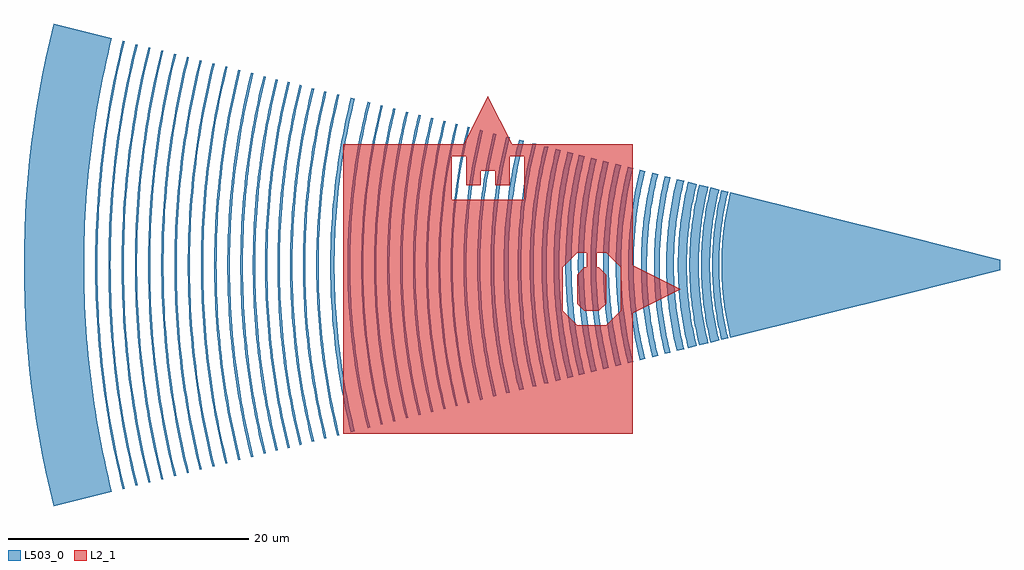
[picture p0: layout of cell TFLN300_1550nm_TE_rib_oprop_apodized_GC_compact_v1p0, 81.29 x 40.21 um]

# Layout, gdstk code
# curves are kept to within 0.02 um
import gdstk
lib = gdstk.Library(unit=1e-6, precision=1e-09)
def P(c, l, *ps):  # polygons
    for p in ps: c.add(gdstk.Polygon(p, *l))
L2_1 = (2, 1)
L503_0 = (503, 0)

tfln300_1550nm_te_rib_op = lib.new_cell('TFLN300_1550nm_TE_rib_oprop_apodized_GC_compact_v1p0')
P(tfln300_1550nm_te_rib_op, L2_1, [(-54.719,-14.072),(-54.719,1.006),(-33.585,1.006),(-33.585,-0.2),(-33.404,-0.2),(-32.801,-0.803),(-32.801,-3.216),(-33.404,-3.819),(-34.611,-3.819),(-35.214,-3.216),(-35.214,-0.803),(-34.611,-0.2),(-34.43,-0.2),(-34.43,1.006),(-35.214,1.006),(-36.42,-0.2),(-36.42,-3.819),(-35.214,-5.025),(-32.801,-5.025),(-31.595,-3.819),(-31.595,-0.2),(-32.801,1.006),(-54.719,1.006),(-54.719,9.052),(-40.848,9.052),(-40.848,6.639),(-42.054,6.639),(-42.054,7.845),(-43.261,7.845),(-43.261,6.639),(-44.467,6.639),(-44.467,9.052),(-45.673,9.052),(-45.673,5.433),(-39.642,5.433),(-39.642,9.052),(-54.719,9.052),(-54.719,10.052),(-44.667,10.052),(-42.657,14.072),(-40.647,10.052),(-30.595,10.052),(-30.595,0),(-26.575,-2.01),(-30.595,-4.02),(-30.595,-14.072)])
P(tfln300_1550nm_te_rib_op, L503_0, [(-22.452,-6.048),(-22.776,-4.556),(-23.009,-3.047),(-23.148,-1.526),(-23.195,0),(-23.148,1.526),(-23.009,3.047),(-22.776,4.556),(-22.452,6.048),(0,0.45),(0,-0.45)],
  [(-23.2,-6.234),(-23.533,-4.696),(-23.773,-3.141),(-23.917,-1.573),(-23.965,0),(-23.917,1.573),(-23.773,3.141),(-23.533,4.696),(-23.2,6.234),(-22.639,6.094),(-22.966,4.591),(-23.201,3.07),(-23.341,1.538),(-23.388,0),(-23.341,-1.538),(-23.201,-3.07),(-22.966,-4.591),(-22.639,-6.094)],
  [(-24.103,-6.459),(-24.449,-4.866),(-24.697,-3.254),(-24.846,-1.63),(-24.896,0),(-24.846,1.63),(-24.697,3.254),(-24.449,4.866),(-24.103,6.459),(-23.388,6.281),(-23.683,4.954),(-23.966,3.164),(-24.111,1.585),(-24.159,0),(-24.111,-1.585),(-23.966,-3.164),(-23.683,-4.954),(-23.388,-6.281)],
  [(-25.047,-6.695),(-25.406,-5.043),(-25.663,-3.373),(-25.817,-1.689),(-25.869,0),(-25.817,1.689),(-25.663,3.373),(-25.406,5.043),(-25.047,6.695),(-24.29,6.506),(-24.639,4.901),(-24.889,3.277),(-25.039,1.642),(-25.089,0),(-25.039,-1.642),(-24.889,-3.277),(-24.639,-4.901),(-24.29,-6.506)],
  [(-25.979,-6.927),(-26.351,-5.218),(-26.617,-3.49),(-26.777,-1.748),(-26.83,0),(-26.777,1.748),(-26.617,3.49),(-26.351,5.218),(-25.979,6.927),(-25.254,6.746),(-25.615,5.082),(-25.874,3.399),(-26.03,1.702),(-26.082,0),(-26.03,-1.702),(-25.874,-3.399),(-25.615,-5.082),(-25.254,-6.746)],
  [(-26.922,-7.162),(-27.305,-5.395),(-27.58,-3.608),(-27.746,-1.807),(-27.801,0),(-27.746,1.807),(-27.58,3.608),(-27.305,5.395),(-26.922,7.162),(-26.309,7.009),(-26.685,5.28),(-26.954,3.532),(-27.116,1.769),(-27.17,0),(-27.116,-1.769),(-26.954,-3.532),(-26.685,-5.28),(-26.309,-7.009)],
  [(-27.909,-7.408),(-28.306,-5.581),(-28.591,-3.732),(-28.762,-1.87),(-28.819,0),(-28.762,1.87),(-28.591,3.732),(-28.306,5.581),(-27.909,7.408),(-27.454,7.295),(-27.795,5.753),(-28.056,4.196),(-28.234,2.628),(-28.331,1.052),(-28.331,-1.052),(-28.184,-3.152),(-27.891,-5.236),(-27.454,-7.294)],
  [(-28.958,-7.67),(-29.369,-5.778),(-29.664,-3.864),(-29.841,-1.936),(-29.9,0),(-29.841,1.936),(-29.664,3.864),(-29.369,5.778),(-28.958,7.67),(-28.484,7.552),(-28.889,5.69),(-29.145,4.075),(-29.316,2.45),(-29.402,0.818),(-29.393,-1.09),(-29.241,-3.263),(-28.938,-5.421),(-28.484,-7.552)],
  [(-29.994,-7.928),(-30.418,-5.972),(-30.723,-3.994),(-30.906,-2.001),(-30.967,0),(-30.906,2.001),(-30.723,3.994),(-30.418,5.972),(-29.994,7.928),(-29.56,7.82),(-29.979,5.891),(-30.279,3.939),(-30.46,1.974),(-30.52,0),(-30.46,-1.974),(-30.279,-3.939),(-29.979,-5.891),(-29.56,-7.82)],
  [(-30.996,-8.178),(-31.434,-6.16),(-31.748,-4.12),(-31.937,-2.064),(-32,0),(-31.937,2.064),(-31.748,4.12),(-31.434,6.16),(-30.996,8.178),(-30.566,8.071),(-30.998,6.079),(-31.309,4.065),(-31.495,2.037),(-31.557,0),(-31.495,-2.037),(-31.309,-4.065),(-30.998,-6.079),(-30.566,-8.071)],
  [(-32.023,-8.434),(-32.475,-6.353),(-32.799,-4.249),(-32.994,-2.128),(-33.059,0),(-32.994,2.128),(-32.799,4.249),(-32.475,6.353),(-32.023,8.434),(-31.56,8.319),(-32.005,6.265),(-32.325,4.191),(-32.517,2.099),(-32.581,0),(-32.517,-2.099),(-32.325,-4.191),(-32.005,-6.265),(-31.56,-8.319)],
  [(-33.037,-8.687),(-33.503,-6.544),(-33.836,-4.376),(-34.037,-2.192),(-34.104,0),(-34.037,2.192),(-33.836,4.376),(-33.503,6.544),(-33.037,8.687),(-32.58,8.573),(-33.039,6.458),(-33.369,4.319),(-33.567,2.163),(-33.633,0),(-33.567,-2.163),(-33.369,-4.319),(-33.039,-6.458),(-32.58,-8.573)],
  [(-34.053,-8.94),(-34.532,-6.735),(-34.876,-4.504),(-35.082,-2.256),(-35.151,0),(-35.082,2.256),(-34.876,4.504),(-34.532,6.735),(-34.053,8.94),(-33.586,8.824),(-34.06,6.647),(-34.398,4.445),(-34.602,2.226),(-34.67,0),(-34.602,-2.226),(-34.398,-4.445),(-34.06,-6.647),(-33.586,-8.824)],
  [(-35.069,-9.193),(-35.562,-6.925),(-35.915,-4.631),(-36.127,-2.32),(-36.198,0),(-36.127,2.32),(-35.915,4.631),(-35.562,6.925),(-35.069,9.193),(-34.582,9.072),(-35.068,6.835),(-35.417,4.57),(-35.626,2.289),(-35.696,0),(-35.626,-2.289),(-35.417,-4.57),(-35.068,-6.835),(-34.582,-9.072)],
  [(-36.026,-9.432),(-36.531,-7.105),(-36.893,-4.752),(-37.111,-2.38),(-37.184,0),(-37.111,2.38),(-36.893,4.752),(-36.531,7.105),(-36.026,9.432),(-35.562,9.316),(-36.061,7.018),(-36.419,4.693),(-36.634,2.351),(-36.706,0),(-36.634,-2.351),(-36.419,-4.693),(-36.061,-7.018),(-35.562,-9.316)],
  [(-36.99,-9.672),(-37.508,-7.286),(-37.88,-4.873),(-38.103,-2.441),(-38.178,0),(-38.103,2.441),(-37.88,4.873),(-37.508,7.286),(-36.99,9.672),(-36.593,9.573),(-37.105,7.211),(-37.473,4.823),(-37.694,2.416),(-37.768,0),(-37.694,-2.416),(-37.473,-4.823),(-37.105,-7.211),(-36.593,-9.573)],
  [(-37.949,-9.911),(-38.48,-7.466),(-38.861,-4.993),(-39.09,-2.501),(-39.166,0),(-39.09,2.501),(-38.861,4.993),(-38.48,7.466),(-37.949,9.911),(-37.643,9.835),(-38.17,7.409),(-38.548,4.955),(-38.775,2.482),(-38.851,0),(-38.775,-2.482),(-38.548,-4.955),(-38.17,-7.409),(-37.643,-9.835)],
  [(-38.924,-10.155),(-39.468,-7.65),(-39.858,-5.116),(-40.093,-2.563),(-40.171,0),(-40.093,2.563),(-39.858,5.116),(-39.468,7.65),(-38.924,10.155),(-38.641,10.084),(-39.181,7.597),(-39.569,5.081),(-39.802,2.545),(-39.879,0),(-39.802,-2.545),(-39.569,-5.081),(-39.181,-7.597),(-38.641,-10.084)],
  [(-40.055,-10.437),(-40.615,-7.862),(-41.015,-5.258),(-41.257,-2.634),(-41.337,0),(-41.257,2.634),(-41.015,5.258),(-40.615,7.862),(-40.055,10.437),(-39.668,10.34),(-39.925,9.251),(-40.222,7.789),(-40.469,6.317),(-40.619,5.209),(-40.742,4.096),(-40.859,2.609),(-40.938,0),(-40.859,-2.609),(-40.742,-4.096),(-40.619,-5.209),(-40.469,-6.317),(-40.222,-7.789),(-39.925,-9.251),(-39.668,-10.34)],
  [(-41.121,-10.702),(-41.468,-9.198),(-41.694,-8.062),(-41.949,-6.539),(-42.105,-5.391),(-42.267,-3.856),(-42.352,-2.701),(-42.42,-1.158),(-42.435,0),(-42.42,1.158),(-42.352,2.701),(-42.267,3.856),(-42.105,5.391),(-41.949,6.539),(-41.694,8.062),(-41.468,9.198),(-41.121,10.702),(-40.826,10.629),(-41.172,9.136),(-41.397,8.008),(-41.804,5.355),(-42.051,2.683),(-42.106,1.533),(-42.132,0),(-42.106,-1.533),(-42.051,-2.683),(-41.804,-5.355),(-41.397,-8.008),(-41.172,-9.136),(-40.826,-10.629)],
  [(-42.191,-10.969),(-42.463,-9.814),(-42.779,-8.263),(-42.98,-7.093),(-43.2,-5.526),(-43.329,-4.346),(-43.453,-2.768),(-43.51,-1.582),(-43.538,0),(-43.51,1.582),(-43.453,2.768),(-43.329,4.346),(-43.2,5.526),(-42.98,7.093),(-42.779,8.263),(-42.463,9.814),(-42.191,10.969),(-41.949,10.909),(-42.533,8.218),(-42.793,6.665),(-42.952,5.495),(-43.117,3.931),(-43.203,2.753),(-43.273,1.18),(-43.288,0),(-43.273,-1.18),(-43.203,-2.753),(-43.117,-3.931),(-42.952,-5.495),(-42.793,-6.665),(-42.533,-8.218),(-41.949,-10.909)],
  [(-43.304,-11.247),(-43.583,-10.062),(-43.907,-8.472),(-44.113,-7.273),(-44.338,-5.666),(-44.471,-4.456),(-44.598,-2.838),(-44.657,-1.622),(-44.685,0),(-44.657,1.622),(-44.598,2.838),(-44.471,4.456),(-44.338,5.666),(-44.113,7.273),(-43.907,8.472),(-43.583,10.062),(-43.304,11.247),(-43.071,11.188),(-43.349,10.01),(-43.671,8.428),(-43.876,7.235),(-44.1,5.637),(-44.269,4.031),(-44.358,2.823),(-44.429,1.211),(-44.445,0),(-44.429,-1.211),(-44.358,-2.823),(-44.269,-4.031),(-44.1,-5.637),(-43.876,-7.235),(-43.671,-8.428),(-43.349,-10.01),(-43.071,-11.188)],
  [(-44.333,-11.503),(-44.618,-10.292),(-44.949,-8.665),(-45.16,-7.438),(-45.391,-5.795),(-45.564,-4.144),(-45.656,-2.903),(-45.729,-1.245),(-45.745,0),(-45.729,1.245),(-45.656,2.903),(-45.564,4.144),(-45.391,5.795),(-45.16,7.438),(-44.949,8.665),(-44.618,10.292),(-44.333,11.503),(-44.179,11.465),(-44.551,9.854),(-44.867,8.229),(-45.126,6.596),(-45.327,4.954),(-45.441,3.719),(-45.522,2.481),(-45.571,1.24),(-45.587,0),(-45.571,-1.24),(-45.522,-2.481),(-45.441,-3.719),(-45.327,-4.954),(-45.126,-6.596),(-44.867,-8.229),(-44.551,-9.854),(-44.179,-11.465)],
  [(-45.333,-11.752),(-45.714,-10.101),(-45.963,-8.853),(-46.178,-7.6),(-46.414,-5.921),(-46.591,-4.234),(-46.685,-2.966),(-46.759,-1.272),(-46.776,0),(-46.759,1.272),(-46.685,2.966),(-46.591,4.234),(-46.414,5.921),(-46.178,7.6),(-45.963,8.853),(-45.714,10.101),(-45.333,11.752),(-45.179,11.714),(-45.559,10.067),(-45.882,8.408),(-46.146,6.739),(-46.352,5.061),(-46.551,2.535),(-46.601,1.268),(-46.617,0),(-46.601,-1.268),(-46.551,-2.535),(-46.352,-5.061),(-46.146,-6.739),(-45.882,-8.408),(-45.559,-10.067),(-45.179,-11.714)],
  [(-46.338,-12.003),(-46.728,-10.316),(-46.981,-9.042),(-47.267,-7.334),(-47.442,-6.047),(-47.584,-4.756),(-47.719,-3.029),(-47.782,-1.732),(-47.812,0),(-47.782,1.732),(-47.719,3.029),(-47.584,4.756),(-47.442,6.047),(-47.267,7.334),(-46.981,9.042),(-46.728,10.316),(-46.338,12.003),(-46.174,11.962),(-46.562,10.282),(-46.892,8.586),(-47.162,6.882),(-47.372,5.168),(-47.575,2.589),(-47.626,1.296),(-47.643,0),(-47.626,-1.296),(-47.575,-2.589),(-47.372,-5.168),(-47.162,-6.882),(-46.892,-8.586),(-46.562,-10.282),(-46.174,-11.962)],
  [(-47.381,-12.263),(-47.685,-10.972),(-48.038,-9.238),(-48.263,-7.93),(-48.509,-6.178),(-48.654,-4.859),(-48.792,-3.095),(-48.87,-1.327),(-48.887,0),(-48.87,1.327),(-48.792,3.095),(-48.654,4.859),(-48.509,6.178),(-48.263,7.93),(-48.038,9.238),(-47.685,10.972),(-47.381,12.263),(-47.196,12.216),(-47.593,10.5),(-47.928,8.77),(-48.204,7.028),(-48.419,5.279),(-48.627,2.644),(-48.696,0),(-48.627,-2.644),(-48.419,-5.279),(-48.204,-7.028),(-47.928,-8.77),(-47.593,-10.5),(-47.196,-12.216)],
  [(-48.421,-12.522),(-48.732,-11.204),(-49.092,-9.433),(-49.322,-8.098),(-49.573,-6.308),(-49.721,-4.961),(-49.862,-3.16),(-49.941,-1.355),(-49.959,0),(-49.941,1.355),(-49.862,3.16),(-49.721,4.961),(-49.573,6.308),(-49.322,8.098),(-49.092,9.433),(-48.732,11.204),(-48.421,12.522),(-48.232,12.475),(-48.637,10.721),(-48.981,8.956),(-49.262,7.177),(-49.481,5.391),(-49.694,2.7),(-49.764,0),(-49.694,-2.7),(-49.481,-5.391),(-49.262,-7.177),(-48.981,-8.956),(-48.637,-10.721),(-48.232,-12.475)],
  [(-49.47,-12.784),(-49.885,-10.987),(-50.155,-9.63),(-50.46,-7.811),(-50.646,-6.44),(-50.797,-5.065),(-50.941,-3.226),(-51.008,-1.844),(-51.04,0),(-51.008,1.844),(-50.941,3.226),(-50.797,5.065),(-50.646,6.44),(-50.46,7.811),(-50.155,9.63),(-49.885,10.987),(-49.47,12.784),(-49.289,12.739),(-49.703,10.948),(-50.054,9.145),(-50.341,7.329),(-50.565,5.505),(-50.782,2.757),(-50.854,0),(-50.782,-2.757),(-50.565,-5.505),(-50.341,-7.329),(-50.054,-9.145),(-49.703,-10.948),(-49.289,-12.739)],
  [(-50.528,-13.048),(-50.852,-11.674),(-51.227,-9.829),(-51.538,-7.972),(-51.728,-6.573),(-51.925,-4.701),(-52.029,-3.293),(-52.112,-1.412),(-52.13,0),(-52.112,1.412),(-52.029,3.293),(-51.925,4.701),(-51.728,6.573),(-51.538,7.972),(-51.227,9.829),(-50.852,11.674),(-50.528,13.048),(-50.357,13.005),(-50.779,11.177),(-51.137,9.335),(-51.431,7.482),(-51.66,5.62),(-51.881,2.815),(-51.936,1.407),(-51.954,0),(-51.936,-1.407),(-51.881,-2.815),(-51.66,-5.62),(-51.431,-7.482),(-51.137,-9.335),(-50.779,-11.177),(-50.357,-13.005)],
  [(-51.56,-13.305),(-51.992,-11.435),(-52.273,-10.023),(-52.517,-8.604),(-52.784,-6.703),(-52.985,-4.793),(-53.091,-3.358),(-53.175,-1.44),(-53.194,0),(-53.175,1.44),(-53.091,3.358),(-52.985,4.793),(-52.784,6.703),(-52.517,8.604),(-52.273,10.023),(-51.992,11.435),(-51.56,13.305),(-51.407,13.267),(-51.837,11.402),(-52.203,9.523),(-52.502,7.632),(-52.736,5.733),(-52.867,4.303),(-52.961,2.871),(-53.018,1.436),(-53.036,0),(-53.018,-1.436),(-52.961,-2.871),(-52.867,-4.303),(-52.736,-5.733),(-52.502,-7.632),(-52.203,-9.523),(-51.837,-11.402),(-51.407,-13.267)],
  [(-52.678,-13.584),(-53.015,-12.153),(-53.406,-10.233),(-53.655,-8.784),(-53.927,-6.843),(-54.132,-4.894),(-54.241,-3.428),(-54.312,-1.96),(-54.346,0),(-54.312,1.96),(-54.241,3.428),(-54.132,4.894),(-53.927,6.843),(-53.655,8.784),(-53.406,10.233),(-53.015,12.153),(-52.678,13.584),(-52.461,13.529),(-52.901,11.629),(-53.273,9.712),(-53.579,7.783),(-53.817,5.847),(-54.047,2.927),(-54.123,0),(-54.047,-2.927),(-53.817,-5.847),(-53.579,-7.783),(-53.273,-9.712),(-52.901,-11.629),(-52.461,-13.529)],
  [(-54.069,-13.931),(-54.521,-11.972),(-54.815,-10.494),(-55.07,-9.008),(-55.35,-7.018),(-55.56,-5.019),(-55.672,-3.515),(-55.744,-2.01),(-55.779,0),(-55.744,2.01),(-55.672,3.515),(-55.56,5.019),(-55.35,7.018),(-55.07,9.008),(-54.815,10.494),(-54.521,11.972),(-54.069,13.931),(-53.735,13.847),(-54.079,12.389),(-54.478,10.432),(-54.732,8.954),(-55.009,6.975),(-55.218,4.99),(-55.329,3.495),(-55.417,1.498),(-55.436,0),(-55.417,-1.498),(-55.329,-3.495),(-55.218,-4.99),(-55.009,-6.975),(-54.732,-8.954),(-54.478,-10.432),(-54.079,-12.389),(-53.735,-13.847)],
  [(-55.2,-14.213),(-55.661,-12.215),(-55.961,-10.706),(-56.222,-9.191),(-56.507,-7.16),(-56.675,-5.631),(-56.835,-3.587),(-56.925,-1.538),(-56.945,0),(-56.925,1.538),(-56.835,3.587),(-56.675,5.631),(-56.507,7.16),(-56.222,9.191),(-55.961,10.706),(-55.661,12.215),(-55.2,14.213),(-55.021,14.168),(-55.481,12.176),(-55.87,10.169),(-56.19,8.151),(-56.44,6.121),(-56.579,4.595),(-56.68,3.065),(-56.74,1.532),(-56.76,0),(-56.74,-1.532),(-56.68,-3.065),(-56.579,-4.595),(-56.44,-6.121),(-56.19,-8.151),(-55.87,-10.169),(-55.481,-12.176),(-55.021,-14.168)],
  [(-56.266,-14.478),(-56.625,-12.954),(-57.042,-10.907),(-57.387,-8.846),(-57.598,-7.294),(-57.816,-5.216),(-57.932,-3.654),(-58.008,-2.089),(-58.044,0),(-58.008,2.089),(-57.932,3.654),(-57.816,5.216),(-57.598,7.294),(-57.387,8.846),(-57.042,10.907),(-56.625,12.954),(-56.266,14.478),(-56.098,14.436),(-56.566,12.408),(-56.871,10.874),(-57.215,8.82),(-57.486,6.756),(-57.643,5.2),(-57.788,3.124),(-57.85,1.562),(-57.87,0),(-57.85,-1.562),(-57.788,-3.124),(-57.643,-5.2),(-57.486,-6.756),(-57.215,-8.82),(-56.871,-10.874),(-56.566,-12.408),(-56.098,-14.436)],
  [(-57.31,-14.739),(-57.789,-12.667),(-58.1,-11.103),(-58.451,-9.005),(-58.666,-7.425),(-58.84,-5.839),(-59.006,-3.719),(-59.083,-2.126),(-59.12,0),(-59.083,2.126),(-59.006,3.719),(-58.84,5.839),(-58.666,7.425),(-58.451,9.005),(-58.1,11.103),(-57.789,12.667),(-57.31,14.739),(-57.135,14.695),(-57.499,13.148),(-57.922,11.071),(-58.272,8.979),(-58.548,6.876),(-58.708,5.295),(-58.856,3.179),(-58.918,1.59),(-58.939,0),(-58.918,-1.59),(-58.856,-3.179),(-58.708,-5.295),(-58.548,-6.876),(-58.272,-8.979),(-57.922,-11.071),(-57.499,-13.148),(-57.135,-14.695)],
  [(-58.334,-14.994),(-58.821,-12.886),(-59.137,-11.295),(-59.412,-9.696),(-59.713,-7.553),(-59.89,-5.941),(-60.059,-3.784),(-60.154,-1.622),(-60.175,0),(-60.154,1.622),(-60.059,3.784),(-59.89,5.941),(-59.713,7.553),(-59.412,9.696),(-59.137,11.295),(-58.821,12.886),(-58.334,14.994),(-58.158,14.95),(-58.644,12.849),(-59.055,10.731),(-59.315,9.134),(-59.596,6.996),(-59.759,5.386),(-59.91,3.235),(-59.973,1.618),(-59.994,0),(-59.973,-1.618),(-59.91,-3.235),(-59.759,-5.386),(-59.596,-6.996),(-59.315,-9.134),(-59.055,-10.731),(-58.644,-12.849),(-58.158,-14.95)],
  [(-59.332,-15.243),(-59.827,-13.1),(-60.149,-11.482),(-60.512,-9.313),(-60.734,-7.679),(-60.914,-6.039),(-61.086,-3.847),(-61.166,-2.199),(-61.204,0),(-61.166,2.199),(-61.086,3.847),(-60.914,6.039),(-60.734,7.679),(-60.512,9.313),(-60.149,11.482),(-59.827,13.1),(-59.332,15.243),(-59.165,15.2),(-59.542,13.601),(-59.979,11.451),(-60.341,9.288),(-60.628,7.113),(-60.792,5.476),(-60.945,3.289),(-61.01,1.645),(-61.031,0),(-61.01,-1.645),(-60.945,-3.289),(-60.792,-5.476),(-60.628,-7.113),(-60.341,-9.288),(-59.979,-11.451),(-59.542,-13.601),(-59.165,-15.2)],
  [(-60.324,-15.49),(-60.827,-13.313),(-61.154,-11.669),(-61.438,-10.017),(-61.749,-7.803),(-61.931,-6.137),(-62.107,-3.909),(-62.187,-2.235),(-62.226,0),(-62.187,2.235),(-62.107,3.909),(-61.931,6.137),(-61.749,7.803),(-61.438,10.017),(-61.154,11.669),(-60.827,13.313),(-60.324,15.49),(-60.144,15.445),(-60.646,13.274),(-60.972,11.635),(-61.34,9.437),(-61.631,7.228),(-61.798,5.565),(-61.954,3.342),(-62.019,1.67),(-62.041,0),(-62.019,-1.67),(-61.954,-3.342),(-61.798,-5.565),(-61.631,-7.228),(-61.34,-9.437),(-60.972,-11.635),(-60.646,-13.274),(-60.144,-15.445)],
  [(-61.334,-15.742),(-61.725,-14.084),(-62.177,-11.858),(-62.466,-10.18),(-62.782,-7.93),(-62.967,-6.237),(-63.146,-3.973),(-63.245,-1.703),(-63.267,0),(-63.245,1.703),(-63.146,3.973),(-62.967,6.237),(-62.782,7.93),(-62.466,10.18),(-62.177,11.858),(-61.725,14.084),(-61.334,15.742),(-61.145,15.695),(-61.534,14.042),(-61.986,11.823),(-62.36,9.589),(-62.655,7.344),(-62.825,5.655),(-62.951,3.96),(-63.05,1.698),(-63.072,0),(-63.05,-1.698),(-62.951,-3.96),(-62.825,-5.655),(-62.655,-7.344),(-62.36,-9.589),(-61.986,-11.823),(-61.534,-14.042),(-61.145,-15.695)],
  [(-62.382,-16.003),(-62.779,-14.318),(-63.239,-12.055),(-63.533,-10.348),(-63.854,-8.062),(-64.095,-5.766),(-64.224,-4.038),(-64.307,-2.309),(-64.347,0),(-64.307,2.309),(-64.224,4.038),(-64.095,5.766),(-63.854,8.062),(-63.533,10.348),(-63.239,12.055),(-62.779,14.318),(-62.382,16.003),(-62.191,15.956),(-62.587,14.275),(-63.045,12.019),(-63.425,9.749),(-63.726,7.466),(-63.899,5.748),(-64.06,3.452),(-64.128,1.726),(-64.15,0),(-64.128,-1.726),(-64.06,-3.452),(-63.899,-5.748),(-63.726,-7.466),(-63.425,-9.749),(-63.045,-12.019),(-62.587,-14.275),(-62.191,-15.956)],
  [(-63.441,-16.267),(-63.969,-13.981),(-64.312,-12.254),(-64.61,-10.519),(-64.937,-8.195),(-65.182,-5.861),(-65.313,-4.105),(-65.415,-1.76),(-65.438,0),(-65.415,1.76),(-65.313,4.105),(-65.182,5.861),(-64.937,8.195),(-64.61,10.519),(-64.312,12.254),(-63.969,13.981),(-63.441,16.267),(-63.269,16.224),(-63.795,13.944),(-64.242,11.646),(-64.524,9.913),(-64.83,7.593),(-65.006,5.846),(-65.136,4.093),(-65.238,1.756),(-65.261,0),(-65.238,-1.756),(-65.136,-4.093),(-65.006,-5.846),(-64.83,-7.593),(-64.608,-9.334),(-64.242,-11.646),(-63.795,-13.944),(-63.269,-16.224)],
  [(-64.51,-16.534),(-64.92,-14.793),(-65.396,-12.455),(-65.699,-10.692),(-66.031,-8.329),(-66.28,-5.957),(-66.413,-4.172),(-66.517,-1.789),(-66.54,0),(-66.517,1.789),(-66.413,4.172),(-66.28,5.957),(-66.031,8.329),(-65.699,10.692),(-65.396,12.455),(-64.92,14.793),(-64.51,16.534),(-64.355,16.495),(-64.89,14.177),(-65.344,11.841),(-65.717,9.49),(-65.942,7.719),(-66.17,5.35),(-66.287,3.568),(-66.357,1.785),(-66.38,0),(-66.357,-1.785),(-66.287,-3.568),(-66.17,-5.35),(-65.942,-7.719),(-65.717,-9.49),(-65.344,-11.841),(-64.89,-14.177),(-64.355,-16.495)],
  [(-65.578,-16.8),(-65.995,-15.031),(-66.478,-12.656),(-66.786,-10.864),(-67.123,-8.463),(-67.377,-6.053),(-67.511,-4.24),(-67.599,-2.424),(-67.641,0),(-67.599,2.424),(-67.511,4.24),(-67.377,6.053),(-67.123,8.463),(-66.786,10.864),(-66.478,12.656),(-65.995,15.031),(-65.578,16.8),(-65.423,16.761),(-65.966,14.406),(-66.429,12.031),(-66.807,9.643),(-67.036,7.844),(-67.217,6.039),(-67.352,4.229),(-67.458,1.814),(-67.481,0),(-67.458,-1.814),(-67.352,-4.229),(-67.217,-6.039),(-67.036,-7.844),(-66.807,-9.643),(-66.429,-12.031),(-65.966,-14.406),(-65.423,-16.761)],
  [(-66.647,-17.067),(-67.071,-15.269),(-67.562,-12.856),(-67.968,-10.428),(-68.217,-8.598),(-68.475,-6.149),(-68.611,-4.307),(-68.719,-1.847),(-68.743,0),(-68.719,1.847),(-68.611,4.307),(-68.475,6.149),(-68.217,8.598),(-67.968,10.428),(-67.562,12.856),(-67.071,15.269),(-66.647,17.067),(-66.492,17.028),(-67.044,14.635),(-67.514,12.223),(-67.81,10.404),(-68.131,7.969),(-68.366,5.523),(-68.487,3.685),(-68.559,1.842),(-68.583,0),(-68.559,-1.842),(-68.487,-3.685),(-68.366,-5.523),(-68.131,-7.969),(-67.81,-10.404),(-67.514,-12.223),(-67.044,-14.635),(-66.492,-17.028)],
  [(-67.717,-17.333),(-68.147,-15.508),(-68.645,-13.057),(-68.963,-11.209),(-69.311,-8.732),(-69.515,-6.867),(-69.711,-4.374),(-69.801,-2.501),(-69.845,0),(-69.801,2.501),(-69.711,4.374),(-69.515,6.867),(-69.311,8.732),(-68.963,11.209),(-68.645,13.057),(-68.147,15.508),(-67.717,17.333),(-67.56,17.294),(-68.121,14.864),(-68.598,12.414),(-68.899,10.567),(-69.225,8.093),(-69.464,5.608),(-69.586,3.742),(-69.66,1.871),(-69.684,0),(-69.66,-1.871),(-69.586,-3.742),(-69.464,-5.608),(-69.225,-8.093),(-68.899,-10.567),(-68.598,-12.414),(-68.121,-14.864),(-67.56,-17.294)],
  [(-68.785,-17.6),(-69.222,-15.746),(-69.728,-13.258),(-70.147,-10.753),(-70.404,-8.866),(-70.669,-6.341),(-70.81,-4.441),(-70.902,-2.539),(-70.946,0),(-70.902,2.539),(-70.81,4.441),(-70.669,6.341),(-70.404,8.866),(-70.147,10.753),(-69.728,13.258),(-69.222,15.746),(-68.785,17.6),(-68.63,17.561),(-69.199,15.093),(-69.683,12.605),(-70.08,10.103),(-70.319,8.217),(-70.562,5.696),(-70.687,3.8),(-70.761,1.901),(-70.786,0),(-70.761,-1.901),(-70.687,-3.8),(-70.562,-5.696),(-70.319,-8.217),(-70.08,-10.103),(-69.683,-12.605),(-69.199,-15.093),(-68.63,-17.561)],
  [(-69.854,-17.866),(-70.434,-15.355),(-70.811,-13.459),(-71.139,-11.553),(-71.498,-9),(-71.767,-6.437),(-71.91,-4.509),(-72.023,-1.933),(-72.048,0),(-72.023,1.933),(-71.91,4.509),(-71.767,6.437),(-71.498,9),(-71.139,11.553),(-70.811,13.459),(-70.434,15.355),(-69.854,17.866),(-69.699,17.827),(-70.277,15.322),(-70.769,12.796),(-71.079,10.892),(-71.414,8.342),(-71.661,5.782),(-71.787,3.857),(-71.863,1.928),(-71.888,0),(-71.863,-1.928),(-71.787,-3.857),(-71.661,-5.782),(-71.414,-8.342),(-71.079,-10.892),(-70.769,-12.796),(-70.277,-15.322),(-69.699,-17.827)],
  [(-70.923,-18.133),(-71.511,-15.584),(-71.894,-13.659),(-72.326,-11.079),(-72.59,-9.135),(-72.864,-6.533),(-73.009,-4.576),(-73.103,-2.616),(-73.149,0),(-73.103,2.616),(-73.009,4.576),(-72.864,6.533),(-72.59,9.135),(-72.326,11.079),(-71.894,13.659),(-71.511,15.584),(-70.923,18.133),(-70.767,18.094),(-71.354,15.551),(-71.853,12.987),(-72.168,11.055),(-72.508,8.466),(-72.704,6.519),(-72.887,3.915),(-72.964,1.958),(-72.989,0),(-72.964,-1.958),(-72.887,-3.915),(-72.704,-6.519),(-72.508,-8.466),(-72.168,-11.055),(-71.853,-12.987),(-71.354,-15.551),(-70.767,-18.094)],
  [(-71.992,-18.399),(-72.589,-15.813),(-72.977,-13.86),(-73.315,-11.898),(-73.684,-9.269),(-73.962,-6.629),(-74.109,-4.643),(-74.205,-2.654),(-74.251,0),(-74.205,2.654),(-74.109,4.643),(-73.962,6.629),(-73.684,9.269),(-73.315,11.898),(-72.977,13.86),(-72.589,15.813),(-71.992,18.399),(-71.837,18.361),(-72.432,15.78),(-72.938,13.18),(-73.258,11.219),(-73.603,8.592),(-73.857,5.954),(-73.987,3.973),(-74.065,1.987),(-74.091,0),(-74.065,-1.987),(-73.987,-3.973),(-73.857,-5.954),(-73.603,-8.592),(-73.258,-11.219),(-72.938,-13.18),(-72.432,-15.78),(-71.837,-18.361)],
  [(-73.06,-18.665),(-73.666,-16.042),(-74.06,-14.061),(-74.402,-12.07),(-74.777,-9.403),(-74.997,-7.395),(-75.208,-4.71),(-75.326,-2.02),(-75.352,0),(-75.326,2.02),(-75.208,4.71),(-74.997,7.395),(-74.777,9.403),(-74.402,12.07),(-74.06,14.061),(-73.666,16.042),(-73.06,18.665),(-72.905,18.627),(-73.509,16.009),(-74.023,13.371),(-74.347,11.381),(-74.697,8.716),(-74.955,6.041),(-75.087,4.03),(-75.166,2.015),(-75.192,0),(-75.166,-2.015),(-75.087,-4.03),(-74.955,-6.041),(-74.697,-8.716),(-74.347,-11.381),(-74.023,-13.371),(-73.509,-16.009),(-72.905,-18.627)],
  [(-78.826,-20.103),(-79.478,-17.277),(-80.032,-14.43),(-80.271,-13),(-80.675,-10.127),(-80.978,-7.243),(-81.092,-5.797),(-81.243,-2.9),(-81.294,0),(-81.243,2.9),(-81.092,5.797),(-80.978,7.243),(-80.675,10.127),(-80.271,13),(-80.032,14.43),(-79.478,17.277),(-78.826,20.103),(-73.974,18.893),(-74.443,16.904),(-74.986,14.233),(-75.436,11.544),(-75.712,9.518),(-75.935,7.485),(-76.148,4.767),(-76.268,2.044),(-76.294,0),(-76.268,-2.044),(-76.148,-4.767),(-75.935,-7.485),(-75.712,-9.518),(-75.436,-11.544),(-74.986,-14.233),(-74.443,-16.904),(-73.974,-18.893)])

lib.write_gds('TFLN300_1550nm_TE_rib_oprop_apodized_GC_compact_v1p0.gds')
